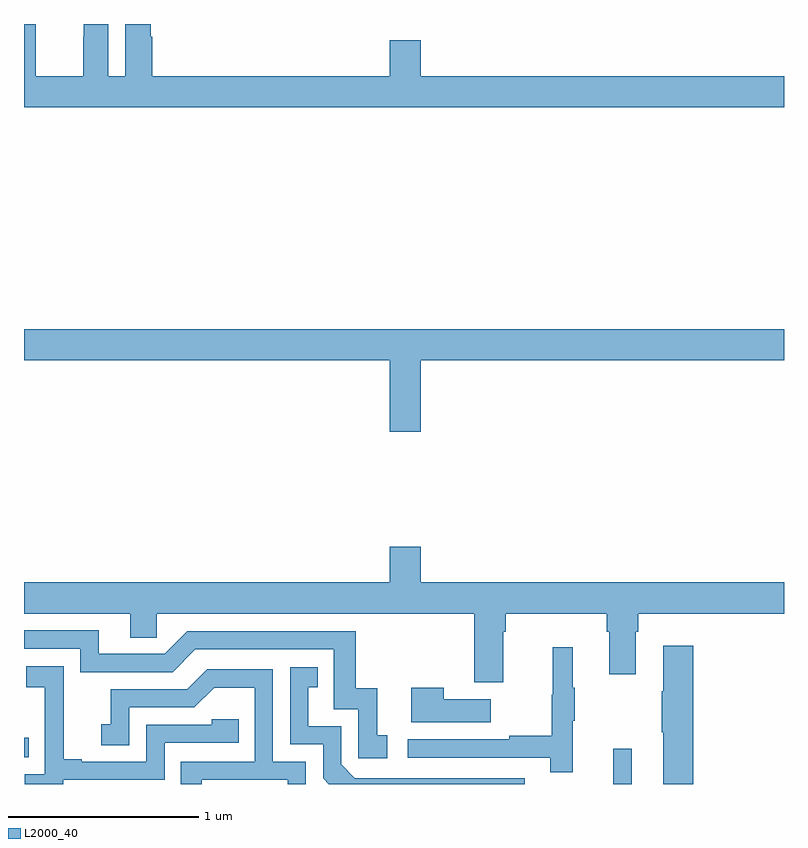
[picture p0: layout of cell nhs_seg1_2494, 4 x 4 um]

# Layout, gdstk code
import gdstk
lib = gdstk.Library(unit=1e-6, precision=1e-09)
def R(c, l, rs):  # rectangles x0, y0, x1, y1
    for r in rs: c.add(gdstk.rectangle(r[:2], r[2:], *l))
def P(c, l, *ps):  # polygons
    for p in ps: c.add(gdstk.Polygon(p, *l))
L2000_40 = (2000, 40)

nhs_seg1_2494 = lib.new_cell('nhs_seg1_2494')
R(nhs_seg1_2494, L2000_40, [(250.101,520.199,250.198,520.384), (247,520.341,247.025,520.442)])
P(nhs_seg1_2494, L2000_40, [(251,523.924),(249.088,523.924),(249.088,524.113),(248.924,524.113),(248.924,523.924),(247.676,523.924),(247.676,524.132),(247.666,524.132),(247.666,524.199),(247.532,524.199),(247.532,523.924),(247.444,523.924),(247.444,524.199),(247.314,524.199),(247.314,524.132),(247.313,524.132),(247.313,523.924),(247.063,523.924),(247.063,524.132),(247.062,524.132),(247.062,524.199),(247,524.199),(247,523.76),(251,523.76)],
  [(249.088,522.428),(251,522.428),(251,522.592),(247,522.592),(247,522.428),(248.924,522.428),(248.924,522.054),(249.088,522.054)],
  [(249.523,521),(249.536,521),(249.536,521.096),(250.067,521.096),(250.067,521),(250.079,521),(250.079,520.776),(250.219,520.776),(250.219,521),(250.232,521),(250.232,521.096),(251,521.096),(251,521.26),(249.088,521.26),(249.088,521.449),(248.924,521.449),(248.924,521.26),(247,521.26),(247,521.096),(247.559,521.096),(247.559,520.969),(247.698,520.969),(247.698,521.096),(249.371,521.096),(249.371,520.734),(249.523,520.734)],
  [(248.911,520.455),(248.858,520.455),(248.858,520.702),(248.747,520.702),(248.747,521.004),(247.86,521.004),(247.74,520.884),(247.393,520.884),(247.393,521.007),(247,521.007),(247,520.911),(247.296,520.911),(247.296,520.788),(247.782,520.788),(247.902,520.908),(248.631,520.908),(248.631,520.593),(248.76,520.593),(248.76,520.335),(248.911,520.335)],
  [(250.523,520.927),(250.364,520.927),(250.364,520.688),(250.357,520.688),(250.357,520.471),(250.364,520.471),(250.364,520.199),(250.523,520.199)],
  [(249.887,520.531),(249.898,520.531),(249.898,520.705),(249.887,520.705),(249.887,520.918),(249.784,520.918),(249.784,520.668),(249.777,520.668),(249.777,520.454),(249.553,520.454),(249.553,520.434),(249.021,520.434),(249.021,520.338),(249.769,520.338),(249.769,520.26),(249.887,520.26)],
  [(247.206,520.221),(247.74,520.221),(247.74,520.416),(248.129,520.416),(248.129,520.539),(247.989,520.539),(247.989,520.512),(247.644,520.512),(247.644,520.317),(247.303,520.317),(247.303,520.33),(247.208,520.33),(247.208,520.613),(247.209,520.613),(247.209,520.819),(247.011,520.819),(247.011,520.709),(247.109,520.709),(247.109,520.481),(247.11,520.481),(247.11,520.251),(247.005,520.251),(247.005,520.199),(247.206,520.199)],
  [(249.636,520.23),(248.742,520.23),(248.67,520.302),(248.67,520.503),(248.497,520.503),(248.497,520.707),(248.546,520.707),(248.546,520.813),(248.4,520.813),(248.4,520.407),(248.574,520.407),(248.574,520.23),(248.605,520.199),(249.636,520.199)],
  [(247.936,520.221),(248.387,520.221),(248.387,520.199),(248.484,520.199),(248.484,520.317),(248.31,520.317),(248.31,520.803),(247.964,520.803),(247.859,520.698),(247.456,520.698),(247.456,520.513),(247.407,520.513),(247.407,520.404),(247.554,520.404),(247.554,520.602),(247.896,520.602),(248,520.706),(248.214,520.706),(248.214,520.317),(247.825,520.317),(247.825,520.199),(247.936,520.199)],
  [(249.457,520.645),(249.209,520.645),(249.209,520.705),(249.038,520.705),(249.038,520.523),(249.457,520.523)])

lib.write_gds('nhs_seg1_2494.gds')
